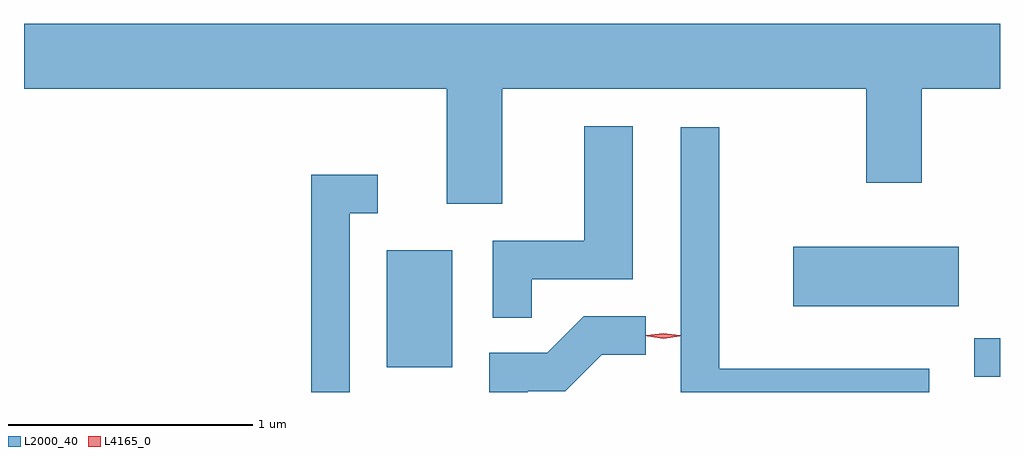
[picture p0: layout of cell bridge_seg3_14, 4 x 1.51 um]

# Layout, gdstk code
import gdstk
lib = gdstk.Library(unit=1e-6, precision=1e-09)
def R(c, l, rs):  # rectangles x0, y0, x1, y1
    for r in rs: c.add(gdstk.rectangle(r[:2], r[2:], *l))
def P(c, l, *ps):  # polygons
    for p in ps: c.add(gdstk.Polygon(p, *l))
L2000_40 = (2000, 40)
L4165_0 = (4165, 0)

bridge_seg3_14 = lib.new_cell('bridge_seg3_14')
R(bridge_seg3_14, L2000_40, [(1571.463,1115.956,1571.569,1116.114), (1569.056,1115.996,1569.324,1116.474), (1570.721,1116.246,1571.399,1116.489)])
P(bridge_seg3_14, L2000_40, [(1569.529,1117.136),(1571.021,1117.136),(1571.021,1116.751),(1571.249,1116.751),(1571.249,1117.136),(1571.569,1117.136),(1571.569,1117.404),(1567.569,1117.404),(1567.569,1117.136),(1569.301,1117.136),(1569.301,1116.666),(1569.529,1116.666)],
  [(1569.649,1116.356),(1570.064,1116.356),(1570.064,1116.984),(1569.866,1116.984),(1569.866,1116.514),(1569.491,1116.514),(1569.491,1116.198),(1569.649,1116.198)],
  [(1571.279,1115.989),(1570.419,1115.989),(1570.419,1116.978),(1570.261,1116.978),(1570.261,1115.892),(1571.279,1115.892)],
  [(1568.904,1116.626),(1569.018,1116.626),(1569.018,1116.784),(1568.746,1116.784),(1568.746,1115.892),(1568.904,1115.892)],
  [(1569.634,1115.896),(1569.787,1115.896),(1569.937,1116.046),(1570.118,1116.046),(1570.118,1116.204),(1569.864,1116.204),(1569.714,1116.054),(1569.476,1116.054),(1569.476,1115.892),(1569.634,1115.892)])
P(bridge_seg3_14, L4165_0, [(1570.19,1116.113),(1570.123,1116.122),(1570.123,1116.123),(1570.123,1116.123),(1570.19,1116.133),(1570.256,1116.123),(1570.256,1116.123),(1570.256,1116.122)],
  [(1570.189,1116.115),(1570.12,1116.124),(1570.12,1116.125),(1570.12,1116.126),(1570.189,1116.135),(1570.258,1116.126),(1570.259,1116.125),(1570.258,1116.124)])

lib.write_gds('bridge_seg3_14.gds')
